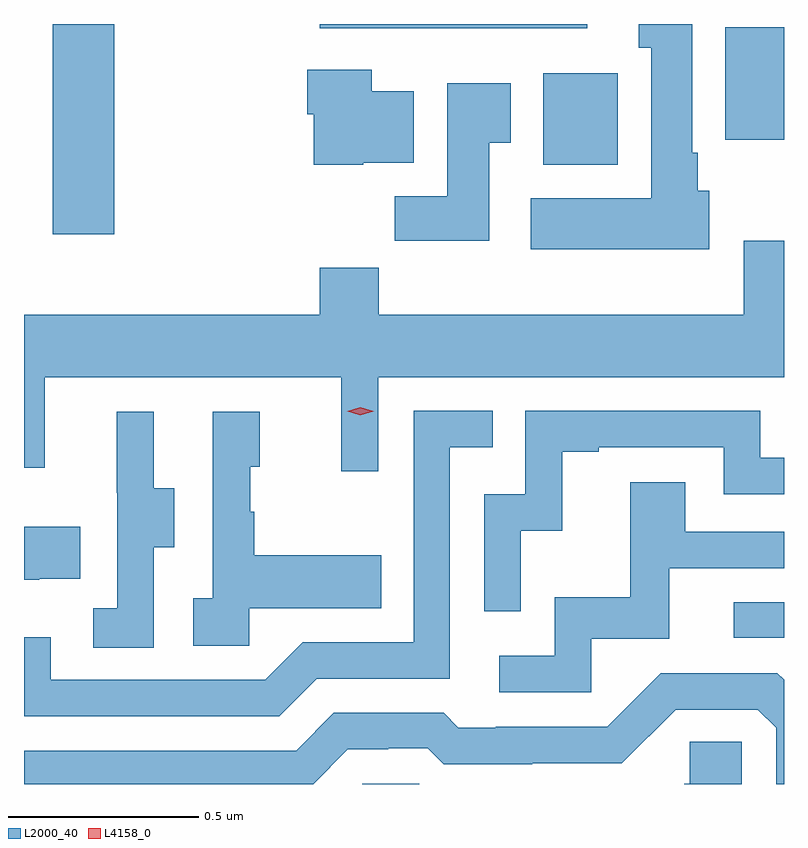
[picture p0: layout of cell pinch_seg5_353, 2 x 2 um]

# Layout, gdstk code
import gdstk
lib = gdstk.Library(unit=1e-6, precision=1e-09)
def R(c, l, rs):  # rectangles x0, y0, x1, y1
    for r in rs: c.add(gdstk.rectangle(r[:2], r[2:], *l))
def P(c, l, *ps):  # polygons
    for p in ps: c.add(gdstk.Polygon(p, *l))
L2000_40 = (2000, 40)
L4158_0 = (4158, 0)

pinch_seg5_353 = lib.new_cell('pinch_seg5_353')
R(pinch_seg5_353, L2000_40, [(959.349,877.001,959.499,877.002), (960.327,877.386,960.459,877.479), (958.535,878.448,958.696,879.001), (959.825,878.63,960.022,878.872), (960.305,878.696,960.459,878.992), (959.237,878.99,959.941,879.001)])
P(pinch_seg5_353, L2000_40, [(960.262,878.562),(960.232,878.562),(960.232,878.662),(960.217,878.662),(960.217,879.001),(960.077,879.001),(960.077,878.939),(960.11,878.939),(960.11,878.542),(959.793,878.542),(959.793,878.408),(960.262,878.408)],
  [(959.352,878.636),(959.485,878.636),(959.485,878.824),(959.374,878.824),(959.374,878.881),(959.204,878.881),(959.204,878.763),(959.222,878.763),(959.222,878.63),(959.352,878.63)],
  [(959.683,878.689),(959.74,878.689),(959.74,878.845),(959.573,878.845),(959.573,878.548),(959.434,878.548),(959.434,878.43),(959.683,878.43)],
  [(959.391,878.072),(960.459,878.072),(960.459,878.431),(960.353,878.431),(960.353,878.236),(959.393,878.236),(959.393,878.36),(959.237,878.36),(959.237,878.236),(958.459,878.236),(958.459,877.833),(958.513,877.833),(958.513,878.072),(959.294,878.072),(959.294,877.824),(959.391,877.824)],
  [(959.23,877.278),(959.58,877.278),(959.58,877.887),(959.693,877.887),(959.693,877.983),(959.484,877.983),(959.484,877.374),(959.193,877.374),(959.094,877.275),(958.53,877.275),(958.53,877.387),(958.459,877.387),(958.459,877.179),(959.131,877.179)],
  [(959.766,877.667),(959.876,877.667),(959.876,877.875),(959.971,877.875),(959.971,877.887),(960.3,877.887),(960.3,877.764),(960.459,877.764),(960.459,877.86),(960.396,877.86),(960.396,877.983),(959.778,877.983),(959.778,877.764),(959.67,877.764),(959.67,877.455),(959.766,877.455)],
  [(958.8,877.624),(958.855,877.624),(958.855,877.779),(958.801,877.779),(958.801,877.981),(958.703,877.981),(958.703,877.767),(958.704,877.767),(958.704,877.463),(958.641,877.463),(958.641,877.36),(958.8,877.36)],
  [(959.052,877.463),(959.399,877.463),(959.399,877.603),(959.065,877.603),(959.065,877.718),(959.055,877.718),(959.055,877.836),(959.08,877.836),(959.08,877.981),(958.956,877.981),(958.956,877.49),(958.905,877.49),(958.905,877.365),(959.052,877.365)],
  [(959.952,877.383),(960.157,877.383),(960.157,877.569),(960.459,877.569),(960.459,877.665),(960.199,877.665),(960.199,877.795),(960.055,877.795),(960.055,877.492),(959.856,877.492),(959.856,877.338),(959.709,877.338),(959.709,877.242),(959.952,877.242)],
  [(958.499,877.541),(958.607,877.541),(958.607,877.678),(958.459,877.678),(958.459,877.538),(958.499,877.538)],
  [(959.311,877.092),(959.418,877.092),(959.418,877.095),(959.521,877.095),(959.563,877.053),(959.796,877.053),(959.796,877.055),(960.032,877.055),(960.174,877.197),(960.39,877.197),(960.438,877.149),(960.438,877.001),(960.459,877.001),(960.459,877.275),(960.441,877.293),(960.135,877.293),(959.994,877.152),(959.701,877.152),(959.701,877.149),(959.602,877.149),(959.563,877.188),(959.274,877.188),(959.175,877.089),(958.459,877.089),(958.459,877.001),(959.22,877.001)],
  [(960.348,877.112),(960.211,877.112),(960.211,877.002),(960.197,877.002),(960.197,877.001),(960.348,877.001)])
P(pinch_seg5_353, L4158_0, [(959.344,877.972),(959.309,877.982),(959.309,877.982),(959.309,877.982),(959.344,877.992),(959.379,877.982),(959.379,877.982),(959.379,877.982)])

lib.write_gds('pinch_seg5_353.gds')
